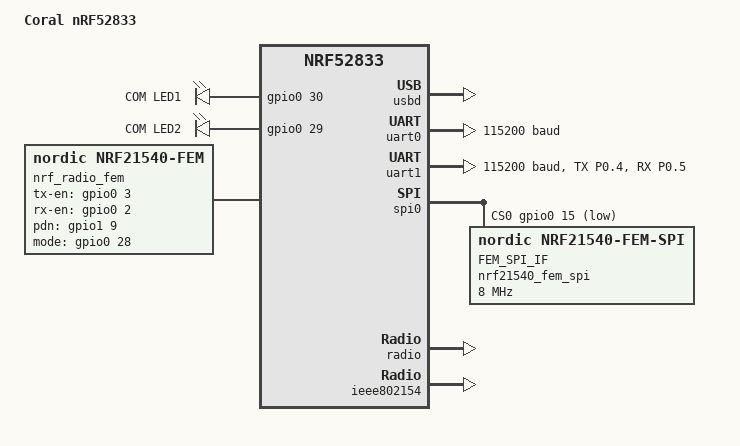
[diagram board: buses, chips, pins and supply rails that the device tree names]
/dts-v1/;
#include <nordic/nrf52833_qiaa.dtsi>
#include "coral_nrf52833-pinctrl.dtsi"

/ {
    model = "Coral nRF52833";
    compatible = "coral,nrf52833";

    chosen {
        zephyr,sram = &sram0;
        zephyr,flash = &flash0;
        zephyr,ieee802154 = &ieee802154;
    };

    leds {
        compatible = "gpio-leds";
        com_led1: com_led_0 {
            gpios = <&gpio0 30 GPIO_ACTIVE_HIGH>;
            label = "COM LED1";
        };
        com_led2: com_led_1 {
            gpios = <&gpio0 29 GPIO_ACTIVE_HIGH>;
            label = "COM LED2";
        };
    };

    nrf_radio_fem: nrf21540_fem {
        compatible = "nordic,nrf21540-fem";
        tx-en-gpios = <&gpio0 3 GPIO_ACTIVE_HIGH>;
        rx-en-gpios = <&gpio0 2 GPIO_ACTIVE_HIGH>;
        pdn-gpios = <&gpio1 9 GPIO_ACTIVE_HIGH>;
        mode-gpios = <&gpio0 28 GPIO_ACTIVE_HIGH>;
        spi-if = <&nrf_radio_fem_spi>;
    };

    aliases {
        led0 = &com_led1;
        led1 = &com_led2;
        bootloader-led0 = &com_led1;
        uart-0 = &cdc_acm_uart0; // USB CDC
        uart-1 = &uart1;         // Hardware UART to CDH
    };
};

&gpiote {
    status = "okay";
};

&gpio0 {
    status = "okay";
};

&gpio1 {
    status = "okay";
};

// USB
&usbd { 
    status = "okay";

    cdc_acm_uart0: cdc_acm_uart0 {
        compatible = "zephyr,cdc-acm-uart";
        label = "CDC_ACM_0";
    };
};

// UART Definitions
&pinctrl {
    uart1_default: uart1_default {
        group1 {
            psels = <NRF_PSEL(UART_TX, 0, 4)>,
                    <NRF_PSEL(UART_RX, 0, 5)>;
        };
    };
    uart1_sleep: uart1_sleep {
        group1 {
            psels = <NRF_PSEL(UART_TX, 0, 4)>,
                    <NRF_PSEL(UART_RX, 0, 5)>;
            low-power-enable;
        };
    };
};

&uart0 {
    compatible = "nordic,nrf-uarte";
    status = "okay";
    current-speed = <115200>;
    pinctrl-0 = <&uart0_default>;
    pinctrl-1 = <&uart0_sleep>;
    pinctrl-names = "default", "sleep";
};

&uart1 {
    compatible = "nordic,nrf-uarte";
    status = "okay";
    current-speed = <115200>;
    pinctrl-0 = <&uart1_default>;
    pinctrl-1 = <&uart1_sleep>;
    pinctrl-names = "default", "sleep";
};

&spi0 {
    compatible = "nordic,nrf-spi";
    status = "okay";
    pinctrl-0 = <&spi0_default>;
    pinctrl-1 = <&spi0_sleep>;
    pinctrl-names = "default", "sleep";
    cs-gpios = <&gpio0 15 GPIO_ACTIVE_LOW>;

    nrf_radio_fem_spi: nrf21540_fem_spi@0 {
        compatible = "nordic,nrf21540-fem-spi";
        status = "okay";
        reg = <0>;
        label = "FEM_SPI_IF";
        spi-max-frequency = <8000000>;
    };
};

&spi1 {
    status = "disabled";
};

&radio {
    fem = <&nrf_radio_fem>;
};

&ieee802154 {
    status = "okay";
};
